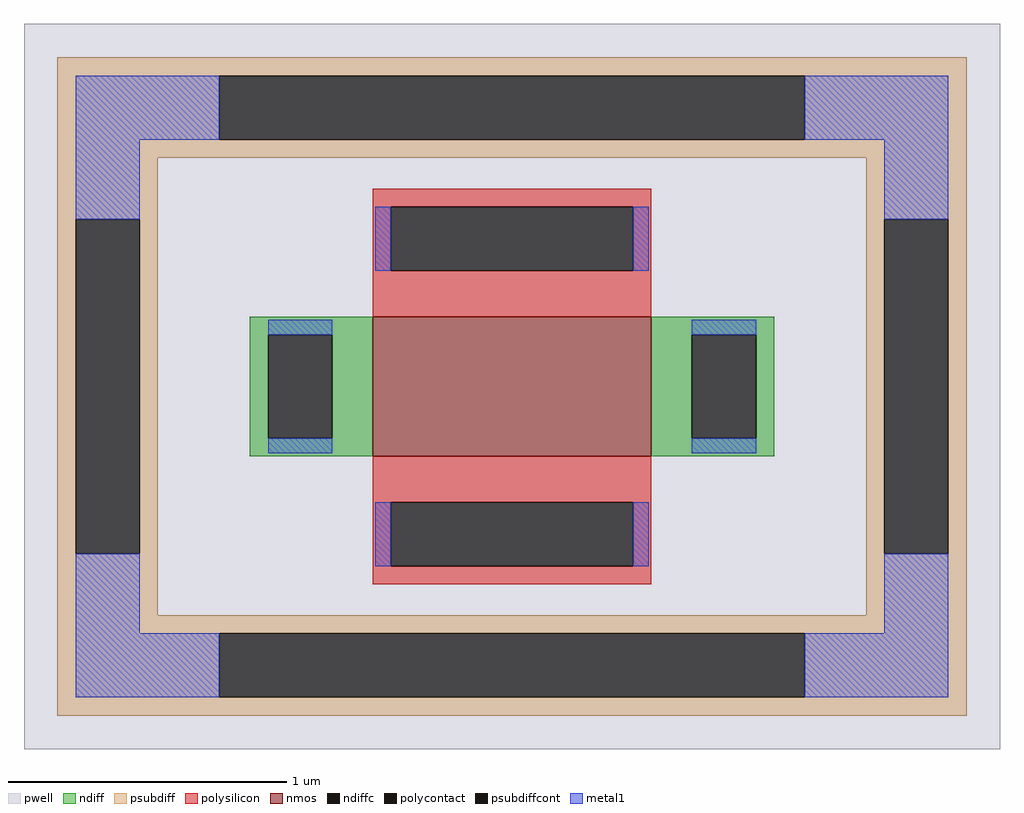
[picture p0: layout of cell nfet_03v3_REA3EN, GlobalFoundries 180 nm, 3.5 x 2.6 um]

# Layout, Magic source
magic
tech gf180mcuD
magscale 1 10
<< pwell >>
rect -350 -260 350 260
<< nmos >>
rect -100 -50 100 50
<< ndiff >>
rect -188 37 -100 50
rect -188 -37 -175 37
rect -129 -37 -100 37
rect -188 -50 -100 -37
rect 100 37 188 50
rect 100 -37 129 37
rect 175 -37 188 37
rect 100 -50 188 -37
<< ndiffc >>
rect -175 -37 -129 37
rect 129 -37 175 37
<< psubdiff >>
rect -326 223 326 236
rect -326 177 -210 223
rect 210 177 326 223
rect -326 164 326 177
rect -326 120 -254 164
rect -326 -120 -313 120
rect -267 -120 -254 120
rect 254 120 326 164
rect -326 -164 -254 -120
rect 254 -120 267 120
rect 313 -120 326 120
rect 254 -164 326 -120
rect -326 -177 326 -164
rect -326 -223 -210 -177
rect 210 -223 326 -177
rect -326 -236 326 -223
<< psubdiffcont >>
rect -210 177 210 223
rect -313 -120 -267 120
rect 267 -120 313 120
rect -210 -223 210 -177
<< polysilicon >>
rect -100 129 100 142
rect -100 83 -87 129
rect 87 83 100 129
rect -100 50 100 83
rect -100 -83 100 -50
rect -100 -129 -87 -83
rect 87 -129 100 -83
rect -100 -142 100 -129
<< polycontact >>
rect -87 83 87 129
rect -87 -129 87 -83
<< metal1 >>
rect -313 177 -210 223
rect 210 177 313 223
rect -313 120 -267 177
rect -98 83 -87 129
rect 87 83 98 129
rect 267 120 313 177
rect -175 37 -129 48
rect -175 -48 -129 -37
rect 129 37 175 48
rect 129 -48 175 -37
rect -313 -177 -267 -120
rect -98 -129 -87 -83
rect 87 -129 98 -83
rect 267 -177 313 -120
rect -313 -223 -210 -177
rect 210 -223 313 -177
<< properties >>
string FIXED_BBOX -290 -200 290 200
string gencell nfet_03v3
string library gf180mcu
string parameters w 0.5 l 1 m 1 nf 1 diffcov 100 polycov 100 guard 1 glc 1 grc 1 gtc 1 gbc 1 tbcov 100 rlcov 100 topc 1 botc 1 poverlap 0 doverlap 1 lmin 0.28 wmin 0.22 class mosfet full_metal 1 compatible {nfet_03v3 nfet_05v0 nfet_06v0 nfet_06v0_nvt}
<< end >>
